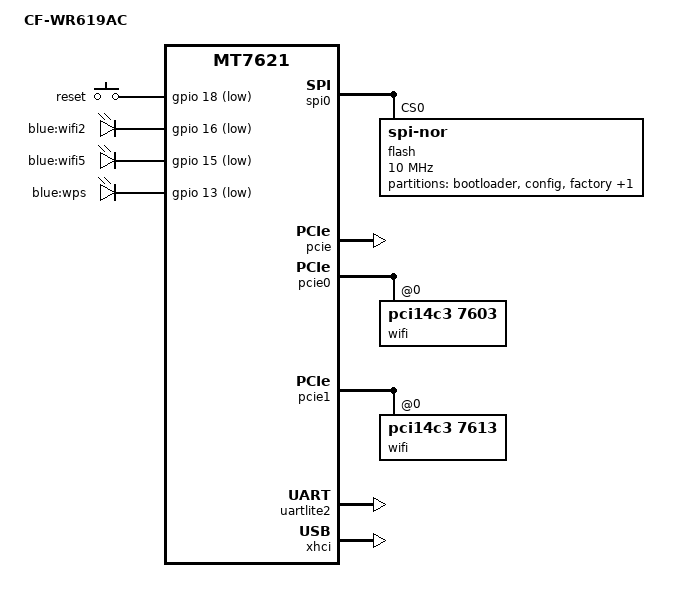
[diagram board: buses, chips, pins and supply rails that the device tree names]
#include "mt7621.dtsi"
#include <dt-bindings/input/input.h>

/ {
	compatible = "cf-wr619ac", "mediatek,mt7621-soc";
	model = "CF-WR619AC";

	chosen {
		bootargs = "console=ttyS0,115200";
	};

	aliases {
		led-upgrade = &wps;
		label-mac-device = &gmac0;
	};

	keys {
		compatible = "gpio-keys";
		poll-interval = <20>;
		reset {
			label = "reset";
			gpios = <&gpio 18 GPIO_ACTIVE_LOW>;
			linux,code = <KEY_RESTART>;
		};
	};

	leds {
		compatible = "gpio-leds";

		wlan2 {
			label = "blue:wifi2";
			gpios = <&gpio 16 GPIO_ACTIVE_LOW>;
		};
		wlan5 {
			label = "blue:wifi5";
			gpios = <&gpio 15 GPIO_ACTIVE_LOW>;
		};
		wps:wps {
			label = "blue:wps";
			gpios = <&gpio 13 GPIO_ACTIVE_LOW>;
		};
	};
};

&spi0 {
	status = "okay";

	flash@0 {
		compatible = "jedec,spi-nor";
		reg = <0>;
		spi-max-frequency = <10000000>;
		m25p,fast-read;
		
        partitions {
            compatible = "fixed-partitions";
            #address-cells = <1>;
            #size-cells = <1>;
            
			partition@0 {
				label = "bootloader";
				reg = <0x00000 0x30000>;
				read-only;
			};

			config:partition@30000 {
				label = "config";
				reg = <0x30000 0x10000>;
			};

			factory:partition@40000 {
				label = "factory";
				reg = <0x40000 0x10000>;
				read-only;
			};

			partition@50000 {
				compatible = "denx,uimage";
				label = "firmware";
				reg = <0x50000 0xfb0000>;
			};
        };
	};
};

&pcie {
	status = "okay";
};

&pcie0 {
	wifi@0,0 {
		compatible = "pci14c3,7603";
		reg = <0x0000 0 0 0 0>;
		mediatek,mtd-eeprom = <&factory 0x0000>;
		ieee80211-freq-limit = <2400000 2500000>;
	};
};

&pcie1 {
	wifi@0,0 {
		compatible = "pci14c3,7613";
		reg = <0x0000 0 0 0 0>;
		mediatek,mtd-eeprom = <&factory 0x8000>;
		ieee80211-freq-limit = <5000000 6000000>;
	};
};

&gmac0 {
	nvmem-cells = <&macaddr_factory_e000>;
	nvmem-cell-names = "mac-address";
};

&switch0 {
	ports {
		wan_port: port@4 {
			status = "okay";
			label = "wan";
			nvmem-cells = <&macaddr_factory_e006>;
			nvmem-cell-names = "mac-address";
		};

		port@1 {
			status = "okay";
			label = "lan1";
		};

		port@2 {
			status = "okay";
			label = "lan2";
		};

		port@3 {
			status = "okay";
			label = "lan3";
		};
	};
};

&state_default {
	gpio {
		groups = "i2c", "uart2", "uart3", "sdhci", "jtag";
		function = "gpio";
	};
};

&uartlite2 {
	status = "okay";
};


&xhci {
	status = "okay";
};

&factory {
	compatible = "nvmem-cells";
	#address-cells = <1>;
	#size-cells = <1>;

	macaddr_factory_e000: macaddr@e000 {
		reg = <0xe000 0x6>;
	};

	macaddr_factory_e006: macaddr@e006 {
		reg = <0xe006 0x6>;
	};
};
